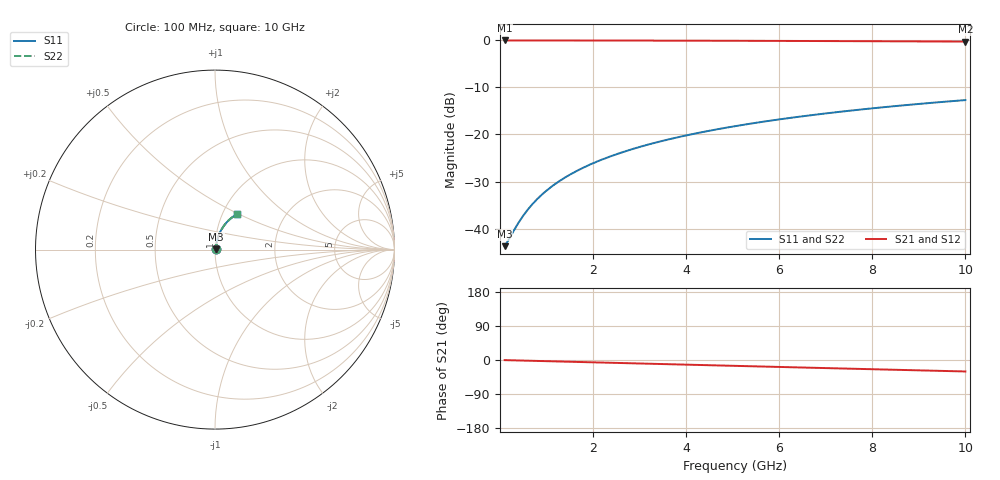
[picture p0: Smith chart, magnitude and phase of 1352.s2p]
# Hz S RI R 50.00
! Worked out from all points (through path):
!   100 points, 100 MHz to 10 GHz, reference 50 ohm
!   highest |S21| = -0.05 dB at 100 MHz (marker M1); lowest = -0.3 dB at 10 GHz (marker M2)
!   group delay of S21, straight-line fit = 8.42 ps
!   lowest |S11| = -43.7 dB at 100 MHz (marker M3), VSWR 1.01, Z = 50.6 + j0.246 ohm
!   |S11| at or under -10 dB: start of sweep to end of sweep
!   |S22| runs from -43.7 to -12.7 dB; largest |S21 - S12| = 0
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1e8  0.00606 0.00243  0.9939 -0.00532  0.9939 -0.00532  0.00606 0.00243
2e8  0.00614 0.00486  0.9938 -0.0106  0.9938 -0.0106  0.00614 0.00486
4e8  0.00635 0.00971  0.9936 -0.0213  0.9936 -0.0213  0.00635 0.00971
5e8  0.00648 0.0121  0.9934 -0.0266  0.9934 -0.0266  0.00648 0.0121
6e8  0.00664 0.0146  0.9932 -0.0319  0.9932 -0.0319  0.00664 0.0146
7e8  0.00683 0.017  0.9929 -0.0372  0.9929 -0.0372  0.00683 0.017
8e8  0.00704 0.0194  0.9927 -0.0426  0.9927 -0.0426  0.00704 0.0194
1e9  0.00753 0.0242  0.992 -0.0532  0.992 -0.0532  0.00753 0.0242
1.2e9  0.00812 0.029  0.9912 -0.0638  0.9912 -0.0638  0.00812 0.029
1.5e9  0.0092 0.0362  0.9898 -0.0797  0.9898 -0.0797  0.0092 0.0362
1.8e9  0.0105 0.0434  0.9881 -0.0955  0.9881 -0.0955  0.0105 0.0434
2.1e9  0.012 0.0505  0.986 -0.1113  0.986 -0.1113  0.012 0.0505
2.5e9  0.0144 0.0599  0.9829 -0.1323  0.9829 -0.1323  0.0144 0.0599
2.9e9  0.0172 0.0692  0.9792 -0.1532  0.9792 -0.1532  0.0172 0.0692
3.4e9  0.0213 0.0805  0.9738 -0.1791  0.9738 -0.1791  0.0213 0.0805
4.2e9  0.0289 0.0982  0.9635 -0.22  0.9635 -0.22  0.0289 0.0982
5.1e9  0.0393 0.1172  0.9495 -0.2651  0.9495 -0.2651  0.0393 0.1172
5.9e9  0.05 0.1331  0.9351 -0.3042  0.9351 -0.3042  0.05 0.1331
6.7e9  0.0619 0.148  0.9188 -0.3424  0.9188 -0.3424  0.0619 0.148
7.5e9  0.075 0.1618  0.9008 -0.3795  0.9008 -0.3795  0.075 0.1618
8.4e9  0.0909 0.1759  0.8786 -0.4197  0.8786 -0.4197  0.0909 0.1759
1e10  0.122 0.1968  0.8345 -0.4872  0.8345 -0.4872  0.122 0.1968
